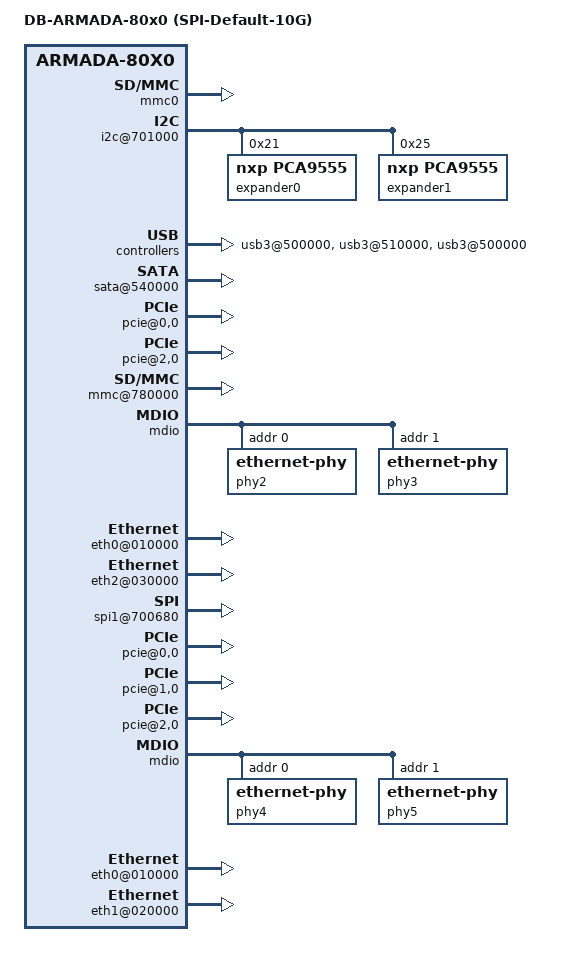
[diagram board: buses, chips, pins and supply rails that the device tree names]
/*
 * ***************************************************************************
 * Copyright (C) 2015 Marvell International Ltd.
 * ***************************************************************************
 * This program is free software: you can redistribute it and/or modify it
 * under the terms of the GNU General Public License as published by the Free
 * Software Foundation, either version 2 of the License, or any later version.
 *
 * This program is distributed in the hope that it will be useful,
 * but WITHOUT ANY WARRANTY; without even the implied warranty of
 * MERCHANTABILITY or FITNESS FOR A PARTICULAR PURPOSE.  See the
 * GNU General Public License for more details.
 *
 * You should have received a copy of the GNU General Public License
 * along with this program.  If not, see <http://www.gnu.org/licenses/>.
 * ***************************************************************************
 */
/dts-v1/;

#include "armada-80x0.dtsi" /* include SoC device tree */
#include "armada-80x0-dev-info.dtsi" /* include Marvell specific info (S@R, MPP cmd) */
#include "cp110-mpp-bus-info.dtsi" /* include MPP bus info */
#include <dt-bindings/multi-fdt/a8k/multi-fdt.h>
/ {
	model = "DB-ARMADA-80x0 (SPI-Default-10G)";
	compatible = "marvell,armada-80x0-db", "marvell,armada-80x0";
	fdt_config_id = <A80X0_10G>;
	board_id = <A8K_8040_DB>;

	ap-806 {
		internal-regs {
			mmc0: mmc@6E0000 {
				status = "okay";
			};
			pinctl: pinctl@6F4000 {
					/* MPP Bus:
						SDIO  [0-10]
						UART0 [11,19]
					*/
					  /* 0 1 2 3 4 5 6 7 8 9 */
				pin-func = < 1 1 1 1 1 1 1 1 1 1
					     1 3 0 0 0 0 0 0 0 3>;
			};
		};
	};
	cp110-master {
		internal-regs {
			i2c@701000 {
				status = "okay";
				expander0: pca953x@21 {
					compatible = "nxp,pca9555";
					reg = <0x21>;
					status = "okay";
				};
				expander1: pca953x@25 {
					compatible = "nxp,pca9555";
					reg = <0x25>;
					status = "okay";
				};
			};
			utmi0@580000 {
				utmi-port = <UTMI_PHY_TO_USB3_HOST0>;
			};
			utmi1@581000 {
				utmi-port = <UTMI_PHY_TO_USB3_HOST1>;
			};
			usb3@500000 {
				gpio-vbus = <&expander0 EXPANDER0_GPIO(0) GPIO_ACTIVE_HIGH>;
				gpio-vbus-cur-lim = <&expander0 EXPANDER0_GPIO(4) GPIO_ACTIVE_HIGH>;
				vbus-enable-delay = <1000>;
				vbus-disable-delay = <1000>;
				status = "okay";
			};
			usb3@510000 {
				gpio-vbus = <&expander0 EXPANDER0_GPIO(1) GPIO_ACTIVE_HIGH>;
				gpio-vbus-cur-lim = <&expander0 EXPANDER0_GPIO(5) GPIO_ACTIVE_HIGH>;
				vbus-enable-delay = <1000>;
				vbus-disable-delay = <1000>;
				status = "okay";
			};
			sata@540000 {
				status = "okay";
			};
			pcie-controller {
				pcie@0,0 {
					status = "okay";
				};
				pcie@1,0 {
					status = "disabled";
				};
				pcie@2,0 {
					status = "okay";
				};
			};
			mmc@780000 {
				status = "okay";
			};
			pinctl@440000 {
					/* MPP Bus:
					   [0-31] = 0xff: Keep default CP0_shared_pins
						[11] CLKOUT_MPP_11 (out)
						[23] LINK_RD_IN_CP2CP (in)
						[25] CLKOUT_MPP_25 (out)
						[29] AVS_FB_IN_CP2CP (in)
					   [32,34] GE_MDIO/MDC
					   [33]    GPIO: GE_INT#/push button/Wake
					   [35]    MSS_GPIO[3]: MSS_PWDN
					   [36]    MSS_GPIO[5]: MSS_VTT_EN
					   [37-38] I2C0
					   [40-41] SATA[0/1]_PRESENT_ACTIVEn
					   [42-43] XG_MDC/XG_MDIO (XSMI)
					   [44-55] RGMII1
					   [56-62] SD
					*/
					/*   0    1    2    3    4    5    6    7    8    9 */
				pin-func = < 0xff 0xff 0xff 0xff 0xff 0xff 0xff 0xff 0xff 0xff
					     0xff 0xff 0xff 0xff 0xff 0xff 0xff 0xff 0xff 0xff
					     0xff 0xff 0xff 0xff 0xff 0xff 0xff 0xff 0xff 0xff
					     0xff 0xff 7    0    7    0xA  0xA  2    2    0
					     9    9    8    8    1    1    1    1    1    1
					     1    1    1    1    1    1    0xE  0xE  0xE  0xE
					     0xE  0xE  0xE>;
			};

			comphy {
				/* Serdes Configuration:
					Lane 0: PCIe0 (x1)
					Lane 1: SATA0
					Lane 2: KR (10G)
					Lane 3: SATA1
					Lane 4: USB3_HOST1
					Lane 5: PCIe2 (x1)
				*/
				phy0 {
					phy-type = <PHY_TYPE_PEX0>;
				};
				phy1 {
					phy-type = <PHY_TYPE_SATA0>;
				};
				phy2 {
					phy-type = <PHY_TYPE_KR>;
				};
				phy3 {
					phy-type = <PHY_TYPE_SATA1>;
				};
				phy4 {
					phy-type = <PHY_TYPE_USB3_HOST1>;
				};
				phy5 {
					phy-type = <PHY_TYPE_PEX2>;
				};
			};
			mdio {
				#address-cells = <1>;
				#size-cells = <0>;
				phy2: ethernet-phy@2 {
					reg = <0>;
				};
				phy3: ethernet-phy@3 {
					reg = <1>;
				};
			};
			gop {
				mac0 {
					phy-mode = "kr"; /* lane-2 */
				};
				mac2 {
					phy-mode = "sgmii"; /* lane-0 */
					phy = <&phy2>;
					phy-speed = <2500>;
				};
				mac3 {
					phy-mode = "rgmii"; /* rgmii-1 */
					phy = <&phy3>;
				};
			};
			ppv22@000000 {
				eth0@010000 {
					status = "okay";
				};
				eth1@020000 {
					status = "disabled";
				};
				eth2@030000 {
					status = "okay";
				};
			};
		};
	};

	cp110-slave {
		internal-regs {
			utmi0@580000 {
				utmi-port = <UTMI_PHY_TO_USB3_HOST0>;
			};
			usb3@500000 {
				gpio-vbus = <&expander1 EXPANDER1_GPIO(0) GPIO_ACTIVE_HIGH>;
				gpio-vbus-cur-lim = <&expander1 EXPANDER1_GPIO(4) GPIO_ACTIVE_HIGH>;
				vbus-enable-delay = <1000>;
				vbus-disable-delay = <1000>;
				status = "okay";
			};
			sata@540000 {
				status = "disabled";
			};
			spi1@700680 {
				status = "okay";
			};
			pcie-controller {
				pcie@0,0 {
					status = "okay";
				};
				pcie@1,0 {
					status = "okay";
				};
				pcie@2,0 {
					status = "okay";
				};
			};
			pinctl@440000 {
					/* MPP Bus:
					  [0-11]  RGMII0
					  [13-16] SPI1
					  [27,31] GE_MDIO/MDC
					  [29-30] UART0
					  [32-62] = 0xff: Keep default CP1_shared_pins
					*/
					/*   0    1    2    3    4    5    6    7    8    9 */
				pin-func = < 0x3  0x3  0x3  0x3  0x3  0x3  0x3  0x3  0x3  0x3
					     0x3  0x3  0x0  0x3  0x3  0x3  0x3  0xff 0xff 0xff
					     0xff 0xff 0xff 0xff 0xff 0xff 0xff 0x8  0xff 0xA
					     0xA  0x8  0xff 0xff 0xff 0xff 0xff 0xff 0xff 0xff
					     0xff 0xff 0xff 0xff 0xff 0xff 0xff 0xff 0xff 0xff
					     0xff 0xff 0xff 0xff 0xff 0xff 0xff 0xff 0xff 0xff
					     0xff 0xff 0xff>;

			};

			comphy {
				/* Serdes Configuration:
					Lane 0: PCIe0 (x1)
					Lane 1: SATA0
					Lane 2: KR (10G)
					Lane 3: SATA1
					Lane 4: PCIe1 (x1)
					Lane 5: PCIe2 (x1)
				*/
				phy0 {
					phy-type = <PHY_TYPE_PEX0>;
				};
				phy1 {
					phy-type = <PHY_TYPE_SATA0>;
				};
				phy2 {
					phy-type = <PHY_TYPE_KR>;
				};
				phy3 {
					phy-type = <PHY_TYPE_SATA1>;
				};
				phy4 {
					phy-type = <PHY_TYPE_PEX1>;
				};
				phy5 {
					phy-type = <PHY_TYPE_PEX2>;
				};
			};
			mdio {
				#address-cells = <1>;
				#size-cells = <0>;
				phy4: ethernet-phy@2 {
					reg = <0>;
				};
				phy5: ethernet-phy@3 {
					reg = <1>;
				};
			};
			gop {
				mac0 {
					phy-mode = "kr"; /* lane-2 */
				};
				mac2 {
					phy-mode = "rgmii"; /* lane-0 */
					phy = <&phy4>;
				};
				mac3 {
					phy-mode = "sgmii"; /* rgmii-1 */
				};
			};
			ppv22@000000 {
				status = "okay";
				eth0@010000 {
					status = "okay";
				};
				eth1@020000 {
					status = "okay";
				};
				eth2@030000 {
					status = "disabled";
				};
			};
		};
	};


};

